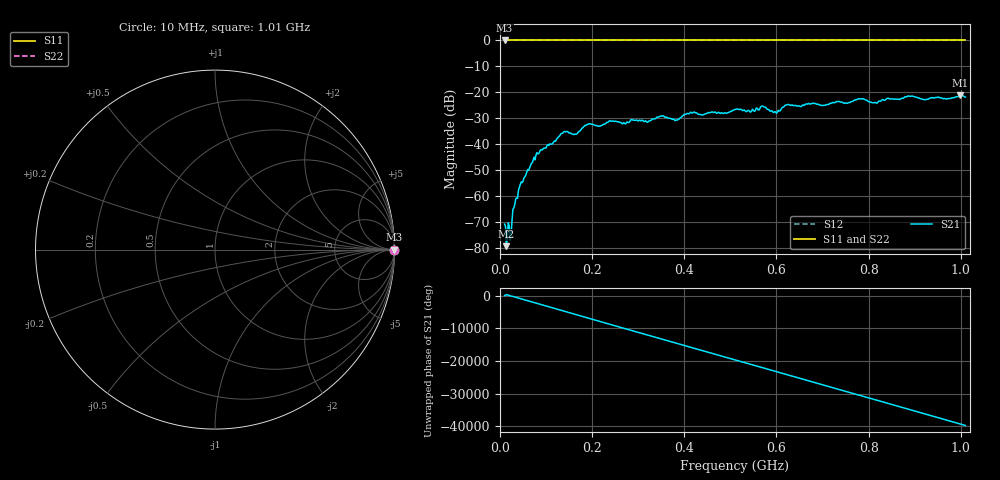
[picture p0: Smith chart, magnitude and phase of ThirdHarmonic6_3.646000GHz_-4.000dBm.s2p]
! 8/17/2025 12:15:43 PM
! C:\ANRITSUVNA\TEMP\TEMP.S2P
! CHANNEL.1
! TR.MEASUREMENT
! RAW.DATA
! RF.CORRECTION.OFF
! AVERAGING.OFF
! IF.BANDWIDTH: 5KHZ
! SWEEPTYPE:  FREQ.SWEEP(Linear)
! Reference Plane Port Info
! PORT:  PORT1  PORT2
! DISTANCE:  0  m  0  m
! TIME:  0  s  0  s
! PHASE.OFFSET:  0  deg.  0  deg.
! LOSS:  0  dB  0  dB
! REF.LOSS:  0  dB  0  dB
! REF.FREQ:  0  Hz  0  Hz
! Power Info
! POWER:  -20  dBm  -20  dBm
! EFF.POWER:  -20  dBm  -20  dBm
! SOURCE.ATTEN:  0  dB  0  dB
! TEST.ATTEN:  0  dB  0  dB
# GHZ S RI R 50.0
! FREQ.GHZ  S11RE  S11IM  S21RE  S21IM  S12RE  S12IM  S22RE  S22IM
!; PortSelection: Port_12
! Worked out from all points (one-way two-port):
!   501 points, 10 MHz to 1.01 GHz, reference 50 ohm
!   highest |S21| = -21.16 dB at 998 MHz (marker M1); lowest = -79.2 dB at 14 MHz (marker M2)
!   lowest |S11| = 0.0 dB at 10 MHz (marker M3)
!   |S11| at or under -10 dB: nowhere
!   |S22| runs from 0.0 to 0.0 dB; largest |S21 - S12| = 1.1
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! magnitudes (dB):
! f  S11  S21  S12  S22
! 10 MHz  0.0  -70.7  0.0  0.0
! 14 MHz  0.0  -79.2  0.0  0.0
! 18 MHz  0.0  -70.3  0.0  0.0
! 24 MHz  0.0  -75.3  0.0  0.0
! 32 MHz  0.0  -63.4  0.0  0.0
! 44 MHz  0.0  -55.5  0.0  0.0
! 76 MHz  0.0  -46.0  0.0  0.0
! 136 MHz  0.0  -35.7  0.0  0.0
! 164 MHz  0.0  -36.0  0.0  0.0
! 178 MHz  0.0  -33.8  0.0  0.0
! 194 MHz  0.0  -32.0  0.0  0.0
! 344 MHz  0.0  -29.6  0.0  0.0
! 384 MHz  0.0  -30.7  0.0  0.0
! 418 MHz  0.0  -28.0  0.0  0.0
! 510 MHz  0.0  -26.6  0.0  0.0
! 570 MHz  0.0  -25.3  0.0  0.0
! 598 MHz  0.0  -27.5  0.0  0.0
! 622 MHz  0.0  -24.8  0.0  0.0
! 678 MHz  0.0  -24.2  0.0  0.0
! 844 MHz  0.0  -22.4  0.0  0.0
! 998 MHz  0.0  -21.2  0.0  0.0
! 1.01 GHz  0.0  -21.8  0.0  0.0
